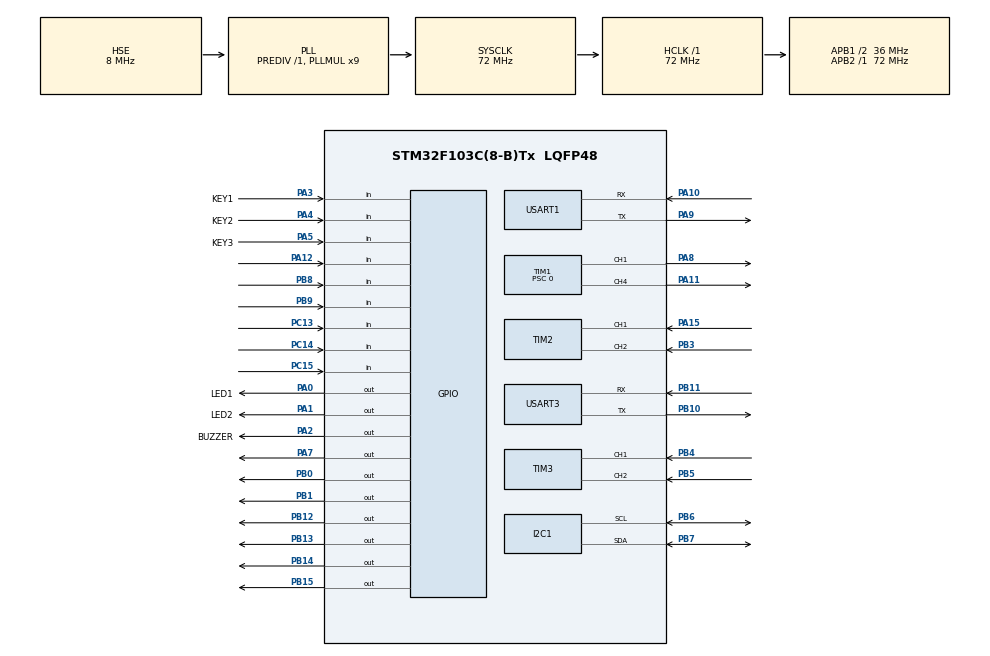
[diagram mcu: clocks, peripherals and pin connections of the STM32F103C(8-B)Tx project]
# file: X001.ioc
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I2C1.I2C_Mode=I2C_Fast
Mcu.Family=STM32F1
Mcu.Name=STM32F103C(8-B)Tx
Mcu.Package=LQFP48
NVIC.PriorityGroup=NVIC_PRIORITYGROUP_4
NVIC.TIM4_IRQn=true\:0\:0\:false\:false\:true\:true\:true\:true
NVIC.USART1_IRQn=true\:0\:0\:false\:false\:true\:true\:true\:true
NVIC.USART3_IRQn=true\:0\:0\:false\:false\:true\:true\:true\:true
PA0-WKUP.GPIO_Label=LED1
PA0-WKUP.PinState=GPIO_PIN_SET
PA0-WKUP.Signal=GPIO_Output
PA1.GPIO_Label=LED2
PA1.PinState=GPIO_PIN_SET
PA1.Signal=GPIO_Output
PA10.Mode=Asynchronous
PA10.Signal=USART1_RX
PA11.Signal=S_TIM1_CH4
PA12.GPIO_PuPd=GPIO_PULLUP
PA12.Signal=GPIO_Input
PA13.Mode=Serial_Wire
PA13.Signal=SYS_JTMS-SWDIO
PA14.Mode=Serial_Wire
PA14.Signal=SYS_JTCK-SWCLK
PA15.Signal=S_TIM2_CH1_ETR
PA2.GPIO_Label=BUZZER
PA2.Signal=GPIO_Output
PA3.GPIO_Label=KEY1
PA3.GPIO_PuPd=GPIO_PULLUP
PA3.Signal=GPIO_Input
PA4.GPIO_Label=KEY2
PA4.GPIO_PuPd=GPIO_PULLUP
PA4.Signal=GPIO_Input
PA5.GPIO_Label=KEY3
PA5.GPIO_PuPd=GPIO_PULLUP
PA5.Signal=GPIO_Input
PA7.GPIO_Speed=GPIO_SPEED_FREQ_MEDIUM
PA7.Signal=GPIO_Output
PA8.Signal=S_TIM1_CH1
PA9.Mode=Asynchronous
PA9.Signal=USART1_TX
PB0.GPIO_Speed=GPIO_SPEED_FREQ_MEDIUM
PB0.Signal=GPIO_Output
PB1.GPIO_Speed=GPIO_SPEED_FREQ_MEDIUM
PB1.Signal=GPIO_Output
PB10.Mode=Asynchronous
PB10.Signal=USART3_TX
PB11.Mode=Asynchronous
PB11.Signal=USART3_RX
PB12.Signal=GPIO_Output
PB13.Signal=GPIO_Output
PB14.Signal=GPIO_Output
PB15.Signal=GPIO_Output
PB3.Signal=S_TIM2_CH2
PB4.Signal=S_TIM3_CH1
PB5.Signal=S_TIM3_CH2
PB6.Mode=I2C
PB6.Signal=I2C1_SCL
PB7.Mode=I2C
PB7.Signal=I2C1_SDA
PB8.GPIO_PuPd=GPIO_PULLUP
PB8.Signal=GPIO_Input
PB9.GPIO_PuPd=GPIO_PULLUP
PB9.Signal=GPIO_Input
PC13-TAMPER-RTC.GPIO_PuPd=GPIO_PULLUP
PC13-TAMPER-RTC.Signal=GPIO_Input
PC14-OSC32_IN.GPIO_PuPd=GPIO_PULLUP
PC14-OSC32_IN.Signal=GPIO_Input
PC15-OSC32_OUT.GPIO_PuPd=GPIO_PULLUP
PC15-OSC32_OUT.Signal=GPIO_Input
PD0-OSC_IN.Mode=HSE-External-Oscillator
PD0-OSC_IN.Signal=RCC_OSC_IN
PD1-OSC_OUT.Mode=HSE-External-Oscillator
PD1-OSC_OUT.Signal=RCC_OSC_OUT
ProjectManager.HeapSize=0x200
ProjectManager.StackSize=0x400
ProjectManager.TargetToolchain=MDK-ARM V5.32
RCC.AHBFreq_Value=72000000
RCC.APB1CLKDivider=RCC_HCLK_DIV2
RCC.APB1Freq_Value=36000000
RCC.APB1TimFreq_Value=72000000
RCC.APB2Freq_Value=72000000
RCC.APB2TimFreq_Value=72000000
RCC.HCLKFreq_Value=72000000
RCC.PLLMUL=RCC_PLL_MUL9
RCC.PLLSourceVirtual=RCC_PLLSOURCE_HSE
RCC.SYSCLKFreq_VALUE=72000000
RCC.SYSCLKSource=RCC_SYSCLKSOURCE_PLLCLK
RCC.USBFreq_Value=72000000
SH.S_TIM1_CH1.0=TIM1_CH1,PWM Generation1 CH1
SH.S_TIM1_CH4.0=TIM1_CH4,PWM Generation4 CH4
SH.S_TIM2_CH1_ETR.0=TIM2_CH1,Encoder_Interface
SH.S_TIM2_CH2.0=TIM2_CH2,Encoder_Interface
SH.S_TIM3_CH1.0=TIM3_CH1,Encoder_Interface
SH.S_TIM3_CH2.0=TIM3_CH2,Encoder_Interface
TIM1.AutoReloadPreload=TIM_AUTORELOAD_PRELOAD_ENABLE
TIM1.Channel-PWM\ Generation1\ CH1=TIM_CHANNEL_1
TIM1.Channel-PWM\ Generation4\ CH4=TIM_CHANNEL_4
TIM1.Period=3599
TIM1.Prescaler=0
TIM2.EncoderMode=TIM_ENCODERMODE_TI12
TIM3.EncoderMode=TIM_ENCODERMODE_TI12
TIM4.Period=99
TIM4.Prescaler=7199
USART1.VirtualMode=VM_ASYNC
USART3.VirtualMode=VM_ASYNC
VP_TIM1_VS_ClockSourceINT.Mode=Internal
VP_TIM4_VS_ClockSourceINT.Mode=Internal
board=custom

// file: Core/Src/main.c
/* USER CODE BEGIN Header */
/**
  ******************************************************************************
  * @file           : main.c
  * @brief          : Main program body
  ******************************************************************************
  * @attention
  *
  * Copyright (c) 2026 STMicroelectronics.
  * All rights reserved.
  *
  * This software is licensed under terms that can be found in the LICENSE file
  * in the root directory of this software component.
  * If no LICENSE file comes with this software, it is provided AS-IS.
  *
  ******************************************************************************
  */
/* USER CODE END Header */
#include "main.h"
#include "i2c.h"
#include "tim.h"
#include "usart.h"
#include "gpio.h"
#include "motor.h"
#include "encoder.h"
/* USER CODE BEGIN Includes */
#include "line_follow.h"
#include "encoder.h"
#include "ui.h"
#include "uart_comm.h"
#include "protocol.h"

/* USER CODE END Includes */

/* USER CODE BEGIN PV */
/*
 * 控制环已经整体搬进 TIM4 的 10ms 中断（见 HAL_TIM_PeriodElapsedCallback）：
 *   编码器更新 -> 循迹外环 -> 速度内环
 * 主循环只负责 OLED 刷屏和串口调试输出。这样 OLED 刷一屏 24ms
 * 也不会打乱 10ms 的控制周期。
 */
/* USER CODE END PV */

void SystemClock_Config(void);

int main(void)
{

  /* MCU Configuration--------------------------------------------------------*/

  /* Reset of all peripherals, Initializes the Flash interface and the Systick. */
  HAL_Init();

  /* Configure the system clock */
  SystemClock_Config();

  /* Initialize all configured peripherals */
  MX_GPIO_Init();
  MX_I2C1_Init();
  MX_TIM1_Init();
  MX_TIM2_Init();
  MX_TIM3_Init();
  MX_USART1_UART_Init();
  MX_USART3_UART_Init();
  MX_TIM4_Init();
  /* USER CODE BEGIN 2 */
  /* Motor_Init() / Encoder_Init() 已经在 LineFollow_Init() 里调过了，不要再单独调 */
  LineFollow_Init();

  /* OLED 调试屏：I2C1 PB6/PB7，SSD1306 地址 0x3C */
  Ui_Init();

  /* 上位机协议走 USART3(PB10/PB11)，和 USART1 上的 ASCII 调试帧分开，互不干扰。
     如果只有一个 USB-TTL：把下面的 &huart3 改成 &huart1，并把 line_follow.cpp
     顶部的 LF_TELEMETRY 改成 0。 */
  UARTComm_Init(&huart3);
  Protocol_Init();
  UARTComm_StartReceive();

  HAL_TIM_Base_Start_IT(&htim4);
// 注意：是带 _IT 的！如果是 HAL_TIM_Base_Start，那是只启动计数，不进中断。
  /* USER CODE END 2 */

  /* Infinite loop */
  while (1)
  {

    /* USER CODE BEGIN 3 */
    /* 控制环在 TIM4 中断里跑完了，主循环只做"慢"的事情： */
    LineFollow_SendTelemetry();   /* 串口调试帧（内部 100ms 节流，非阻塞发送） */
    Ui_Task();                    /* OLED 显示（内部 10Hz 节流 + KEY1 翻页）     */
  }
  /* USER CODE END 3 */
}

void SystemClock_Config(void)
{
  RCC_OscInitTypeDef RCC_OscInitStruct = {0};
  RCC_ClkInitTypeDef RCC_ClkInitStruct = {0};

  /** Initializes the RCC Oscillators according to the specified parameters
  * in the RCC_OscInitTypeDef structure.
  */
  RCC_OscInitStruct.OscillatorType = RCC_OSCILLATORTYPE_HSE;
  RCC_OscInitStruct.HSEState = RCC_HSE_ON;
  RCC_OscInitStruct.HSEPredivValue = RCC_HSE_PREDIV_DIV1;
  RCC_OscInitStruct.HSIState = RCC_HSI_ON;
  RCC_OscInitStruct.PLL.PLLState = RCC_PLL_ON;
  RCC_OscInitStruct.PLL.PLLSource = RCC_PLLSOURCE_HSE;
  RCC_OscInitStruct.PLL.PLLMUL = RCC_PLL_MUL9;
  if (HAL_RCC_OscConfig(&RCC_OscInitStruct) != HAL_OK)
  {
    Error_Handler();
  }

  /** Initializes the CPU, AHB and APB buses clocks
  */
  RCC_ClkInitStruct.ClockType = RCC_CLOCKTYPE_HCLK|RCC_CLOCKTYPE_SYSCLK
                              |RCC_CLOCKTYPE_PCLK1|RCC_CLOCKTYPE_PCLK2;
  RCC_ClkInitStruct.SYSCLKSource = RCC_SYSCLKSOURCE_PLLCLK;
  RCC_ClkInitStruct.AHBCLKDivider = RCC_SYSCLK_DIV1;
  RCC_ClkInitStruct.APB1CLKDivider = RCC_HCLK_DIV2;
  RCC_ClkInitStruct.APB2CLKDivider = RCC_HCLK_DIV1;

  if (HAL_RCC_ClockConfig(&RCC_ClkInitStruct, FLASH_LATENCY_2) != HAL_OK)
  {
    Error_Handler();
  }
}

/* USER CODE BEGIN 4 */
void HAL_TIM_PeriodElapsedCallback(TIM_HandleTypeDef *htim) {
    if (htim->Instance == TIM4) {
        /* 顺序不能乱：先拿到这一拍的真实速度，再算目标，最后出 PWM */
        Encoder_Update();   /* 读编码器 -> speed_left / speed_right */
        LineFollow_Step();  /* 外环：灰度 -> PID -> target_speed_L/R   */
        Speed_Control();    /* 内环：速度 PID -> PWM                    */
    }
}
/* USER CODE END 4 */

void Error_Handler(void)
{
  __disable_irq();
  while (1)
  {
  }
}
